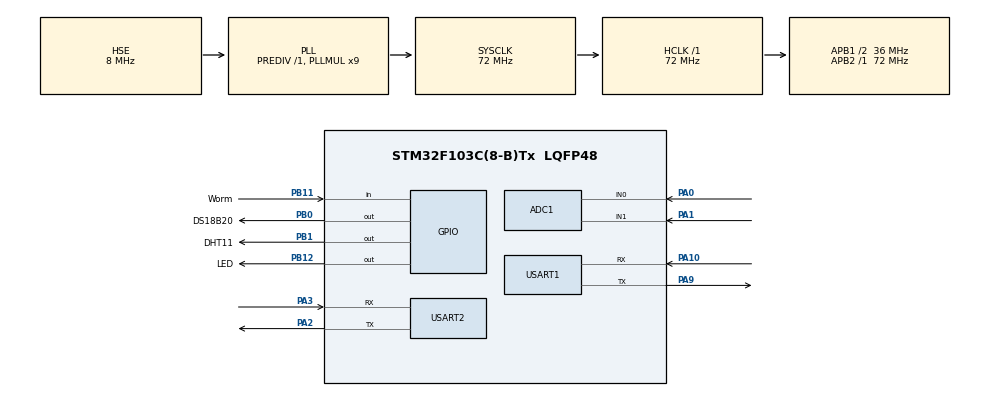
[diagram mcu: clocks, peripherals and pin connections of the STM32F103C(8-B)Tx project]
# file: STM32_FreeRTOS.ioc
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ADC1.Channel-0\#ChannelRegularConversion=ADC_CHANNEL_0
ADC1.Channel-1\#ChannelRegularConversion=ADC_CHANNEL_1
ADC1.DiscontinuousConvMode=ENABLE
ADC1.NbrOfConversion=2
ADC1.NbrOfConversionFlag=1
ADC1.Rank-0\#ChannelRegularConversion=1
ADC1.Rank-1\#ChannelRegularConversion=2
ADC1.SamplingTime-0\#ChannelRegularConversion=ADC_SAMPLETIME_1CYCLE_5
ADC1.SamplingTime-1\#ChannelRegularConversion=ADC_SAMPLETIME_1CYCLE_5
ADC1.master=1
FREERTOS.HEAP_NUMBER=4
FREERTOS.MEMORY_ALLOCATION=0
FREERTOS.Queues01=Uart1_Queue,16,uint8_t,0,Dynamic,NULL,NULL
FREERTOS.Tasks01=StatuTask,0,128,StatuHelloTask,Default,NULL,Dynamic,NULL,NULL;InfoUpdata,0,256,InfoUpdataTask,Default,NULL,Dynamic,NULL,NULL;ADC,0,256,ADCTask,Default,NULL,Dynamic,NULL,NULL;DHT11,0,256,DHT11Task,Default,NULL,Dynamic,NULL,NULL;PH,0,256,PHTask,Default,NULL,Dynamic,NULL,NULL;DS18B20,0,256,DS18B20Task,Default,NULL,Dynamic,NULL,NULL
FREERTOS.configTOTAL_HEAP_SIZE=10240
Mcu.Family=STM32F1
Mcu.Name=STM32F103C(8-B)Tx
Mcu.Package=LQFP48
NVIC.PriorityGroup=NVIC_PRIORITYGROUP_4
NVIC.TIM4_IRQn=true\:15\:0\:false\:false\:true\:false\:false\:true\:true
NVIC.TimeBase=TIM4_IRQn
NVIC.TimeBaseIP=TIM4
NVIC.USART1_IRQn=true\:5\:0\:false\:false\:true\:true\:true\:true\:true
NVIC.USART2_IRQn=true\:5\:0\:false\:false\:true\:true\:true\:true\:true
PA0-WKUP.Signal=ADCx_IN0
PA1.Signal=ADCx_IN1
PA10.Mode=Asynchronous
PA10.Signal=USART1_RX
PA13.Mode=Serial_Wire
PA13.Signal=SYS_JTMS-SWDIO
PA14.Mode=Serial_Wire
PA14.Signal=SYS_JTCK-SWCLK
PA2.Mode=Asynchronous
PA2.Signal=USART2_TX
PA3.Mode=Asynchronous
PA3.Signal=USART2_RX
PA9.Mode=Asynchronous
PA9.Signal=USART1_TX
PB0.GPIO_Label=DS18B20
PB0.GPIO_PuPd=GPIO_PULLUP
PB0.GPIO_Speed=GPIO_SPEED_FREQ_HIGH
PB0.Signal=GPIO_Output
PB1.GPIO_Label=DHT11
PB1.GPIO_PuPd=GPIO_PULLUP
PB1.GPIO_Speed=GPIO_SPEED_FREQ_HIGH
PB1.Signal=GPIO_Output
PB11.GPIO_Label=Worm
PB11.GPIO_PuPd=GPIO_PULLDOWN
PB11.Signal=GPIO_Input
PB12.GPIO_Label=LED
PB12.GPIO_ModeDefaultOutputPP=GPIO_MODE_OUTPUT_PP
PB12.GPIO_PuPd=GPIO_PULLUP
PB12.GPIO_Speed=GPIO_SPEED_FREQ_MEDIUM
PB12.PinState=GPIO_PIN_SET
PB12.Signal=GPIO_Output
PD0-OSC_IN.Mode=HSE-External-Oscillator
PD0-OSC_IN.Signal=RCC_OSC_IN
PD1-OSC_OUT.Mode=HSE-External-Oscillator
PD1-OSC_OUT.Signal=RCC_OSC_OUT
ProjectManager.HeapSize=0x200
ProjectManager.StackSize=0x400
ProjectManager.TargetToolchain=Makefile
RCC.ADCPresc=RCC_ADCPCLK2_DIV6
RCC.AHBFreq_Value=72000000
RCC.APB1CLKDivider=RCC_HCLK_DIV2
RCC.APB1Freq_Value=36000000
RCC.APB1TimFreq_Value=72000000
RCC.APB2Freq_Value=72000000
RCC.APB2TimFreq_Value=72000000
RCC.HCLKFreq_Value=72000000
RCC.PLLMUL=RCC_PLL_MUL9
RCC.PLLSourceVirtual=RCC_PLLSOURCE_HSE
RCC.SYSCLKFreq_VALUE=72000000
RCC.SYSCLKSource=RCC_SYSCLKSOURCE_PLLCLK
RCC.USBFreq_Value=72000000
SH.ADCx_IN0.0=ADC1_IN0,IN0
SH.ADCx_IN1.0=ADC1_IN1,IN1
TIM2.Prescaler=71
USART1.VirtualMode=VM_ASYNC
USART2.VirtualMode=VM_ASYNC
VP_FREERTOS_VS_CMSIS_V1.Mode=CMSIS_V1
VP_SYS_VS_tim4.Mode=TIM4
VP_TIM2_VS_ClockSourceINT.Mode=Internal
board=custom

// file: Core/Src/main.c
/* USER CODE BEGIN Header */
/**
  ******************************************************************************
  * @file           : main.c
  * @brief          : Main program body
  ******************************************************************************
  * @attention
  *
  * Copyright (c) 2022 STMicroelectronics.
  * All rights reserved.
  *
  * This software is licensed under terms that can be found in the LICENSE file
  * in the root directory of this software component.
  * If no LICENSE file comes with this software, it is provided AS-IS.
  *
  ******************************************************************************
  */
/* USER CODE END Header */
#include "main.h"
#include "cmsis_os.h"
#include "adc.h"
#include "tim.h"
#include "usart.h"
#include "gpio.h"

/* USER CODE BEGIN Includes */
#include <printf.h>
#include "DHT11.h"
#include "DS18B20.h"
#include "event_groups.h"
/* USER CODE END Includes */

/* USER CODE BEGIN PV */
unsigned char PH_RX_BUF[100];
unsigned short int PH_RX_STA;
EventGroupHandle_t EvenGroup;
/* USER CODE END PV */

void SystemClock_Config(void);
void MX_FREERTOS_Init(void);

/* USER CODE BEGIN 0 */
void putchar_(char ch)
{
    while ((USART1->SR & 0X40) == 0);
    USART1->DR = (uint8_t) ch;
}

/* USER CODE END 0 */

int main(void)
{

  /* MCU Configuration--------------------------------------------------------*/

  /* Reset of all peripherals, Initializes the Flash interface and the Systick. */
  HAL_Init();

  /* Configure the system clock */
  SystemClock_Config();

  /* Initialize all configured peripherals */
  MX_GPIO_Init();
  MX_ADC1_Init();
  MX_USART1_UART_Init();
  MX_USART2_UART_Init();
  MX_TIM2_Init();
  /* USER CODE BEGIN 2 */
  HAL_UART_Receive_IT(&huart1, (uint8_t *)PH_RX_BUF, 1);
  EvenGroup = xEventGroupCreate();
  /* USER CODE END 2 */

  /* Call init function for freertos objects (in freertos.c) */
  MX_FREERTOS_Init();

  /* Start scheduler */
  osKernelStart();

  /* We should never get here as control is now taken by the scheduler */
  /* Infinite loop */
  while (1)
  {

  }
}

void SystemClock_Config(void)
{
  RCC_OscInitTypeDef RCC_OscInitStruct = {0};
  RCC_ClkInitTypeDef RCC_ClkInitStruct = {0};
  RCC_PeriphCLKInitTypeDef PeriphClkInit = {0};

  /** Initializes the RCC Oscillators according to the specified parameters
  * in the RCC_OscInitTypeDef structure.
  */
  RCC_OscInitStruct.OscillatorType = RCC_OSCILLATORTYPE_HSE;
  RCC_OscInitStruct.HSEState = RCC_HSE_ON;
  RCC_OscInitStruct.HSEPredivValue = RCC_HSE_PREDIV_DIV1;
  RCC_OscInitStruct.HSIState = RCC_HSI_ON;
  RCC_OscInitStruct.PLL.PLLState = RCC_PLL_ON;
  RCC_OscInitStruct.PLL.PLLSource = RCC_PLLSOURCE_HSE;
  RCC_OscInitStruct.PLL.PLLMUL = RCC_PLL_MUL9;
  if (HAL_RCC_OscConfig(&RCC_OscInitStruct) != HAL_OK)
  {
    Error_Handler();
  }

  /** Initializes the CPU, AHB and APB buses clocks
  */
  RCC_ClkInitStruct.ClockType = RCC_CLOCKTYPE_HCLK|RCC_CLOCKTYPE_SYSCLK
                              |RCC_CLOCKTYPE_PCLK1|RCC_CLOCKTYPE_PCLK2;
  RCC_ClkInitStruct.SYSCLKSource = RCC_SYSCLKSOURCE_PLLCLK;
  RCC_ClkInitStruct.AHBCLKDivider = RCC_SYSCLK_DIV1;
  RCC_ClkInitStruct.APB1CLKDivider = RCC_HCLK_DIV2;
  RCC_ClkInitStruct.APB2CLKDivider = RCC_HCLK_DIV1;

  if (HAL_RCC_ClockConfig(&RCC_ClkInitStruct, FLASH_LATENCY_2) != HAL_OK)
  {
    Error_Handler();
  }
  PeriphClkInit.PeriphClockSelection = RCC_PERIPHCLK_ADC;
  PeriphClkInit.AdcClockSelection = RCC_ADCPCLK2_DIV6;
  if (HAL_RCCEx_PeriphCLKConfig(&PeriphClkInit) != HAL_OK)
  {
    Error_Handler();
  }
}

/* USER CODE BEGIN 4 */
void float_to_int_deci(Monitor_Data_TypeDef *monitor,float soil_humi)
{
	monitor->soilhumi_int = (int)soil_humi;
	monitor->soilhumi_deci = (int)(soil_humi*100)%100;
}

unsigned short int MODBUS_CRC16_v3( const unsigned char *buf, unsigned int len )
{
	static const unsigned short int table[256] = {
	0x0000, 0xC0C1, 0xC181, 0x0140, 0xC301, 0x03C0, 0x0280, 0xC241,
	0xC601, 0x06C0, 0x0780, 0xC741, 0x0500, 0xC5C1, 0xC481, 0x0440,
	0xCC01, 0x0CC0, 0x0D80, 0xCD41, 0x0F00, 0xCFC1, 0xCE81, 0x0E40,
	0x0A00, 0xCAC1, 0xCB81, 0x0B40, 0xC901, 0x09C0, 0x0880, 0xC841,
	0xD801, 0x18C0, 0x1980, 0xD941, 0x1B00, 0xDBC1, 0xDA81, 0x1A40,
	0x1E00, 0xDEC1, 0xDF81, 0x1F40, 0xDD01, 0x1DC0, 0x1C80, 0xDC41,
	0x1400, 0xD4C1, 0xD581, 0x1540, 0xD701, 0x17C0, 0x1680, 0xD641,
	0xD201, 0x12C0, 0x1380, 0xD341, 0x1100, 0xD1C1, 0xD081, 0x1040,
	0xF001, 0x30C0, 0x3180, 0xF141, 0x3300, 0xF3C1, 0xF281, 0x3240,
	0x3600, 0xF6C1, 0xF781, 0x3740, 0xF501, 0x35C0, 0x3480, 0xF441,
	0x3C00, 0xFCC1, 0xFD81, 0x3D40, 0xFF01, 0x3FC0, 0x3E80, 0xFE41,
	0xFA01, 0x3AC0, 0x3B80, 0xFB41, 0x3900, 0xF9C1, 0xF881, 0x3840,
	0x2800, 0xE8C1, 0xE981, 0x2940, 0xEB01, 0x2BC0, 0x2A80, 0xEA41,
	0xEE01, 0x2EC0, 0x2F80, 0xEF41, 0x2D00, 0xEDC1, 0xEC81, 0x2C40,
	0xE401, 0x24C0, 0x2580, 0xE541, 0x2700, 0xE7C1, 0xE681, 0x2640,
	0x2200, 0xE2C1, 0xE381, 0x2340, 0xE101, 0x21C0, 0x2080, 0xE041,
	0xA001, 0x60C0, 0x6180, 0xA141, 0x6300, 0xA3C1, 0xA281, 0x6240,
	0x6600, 0xA6C1, 0xA781, 0x6740, 0xA501, 0x65C0, 0x6480, 0xA441,
	0x6C00, 0xACC1, 0xAD81, 0x6D40, 0xAF01, 0x6FC0, 0x6E80, 0xAE41,
	0xAA01, 0x6AC0, 0x6B80, 0xAB41, 0x6900, 0xA9C1, 0xA881, 0x6840,
	0x7800, 0xB8C1, 0xB981, 0x7940, 0xBB01, 0x7BC0, 0x7A80, 0xBA41,
	0xBE01, 0x7EC0, 0x7F80, 0xBF41, 0x7D00, 0xBDC1, 0xBC81, 0x7C40,
	0xB401, 0x74C0, 0x7580, 0xB541, 0x7700, 0xB7C1, 0xB681, 0x7640,
	0x7200, 0xB2C1, 0xB381, 0x7340, 0xB101, 0x71C0, 0x7080, 0xB041,
	0x5000, 0x90C1, 0x9181, 0x5140, 0x9301, 0x53C0, 0x5280, 0x9241,
	0x9601, 0x56C0, 0x5780, 0x9741, 0x5500, 0x95C1, 0x9481, 0x5440,
	0x9C01, 0x5CC0, 0x5D80, 0x9D41, 0x5F00, 0x9FC1, 0x9E81, 0x5E40,
	0x5A00, 0x9AC1, 0x9B81, 0x5B40, 0x9901, 0x59C0, 0x5880, 0x9841,
	0x8801, 0x48C0, 0x4980, 0x8941, 0x4B00, 0x8BC1, 0x8A81, 0x4A40,
	0x4E00, 0x8EC1, 0x8F81, 0x4F40, 0x8D01, 0x4DC0, 0x4C80, 0x8C41,
	0x4400, 0x84C1, 0x8581, 0x4540, 0x8701, 0x47C0, 0x4680, 0x8641,
	0x8201, 0x42C0, 0x4380, 0x8341, 0x4100, 0x81C1, 0x8081, 0x4040 };

	unsigned char xor = 0;
	unsigned short int crc = 0xFFFF;

	while( len-- )
	{
		xor = (*buf++) ^ crc;
		crc >>= 8;
		crc ^= table[xor];
	}

	return crc;
}

void AND_Report(unsigned char function,Monitor_Data_TypeDef *monitor,unsigned char len)
{
	unsigned char send_buf[32]={0};
	unsigned char sumcheck = 0;
	unsigned char addcheck = 0;
	if(len>28)	return;	//最多28字节数据
	send_buf[0] = 0XAA;	//帧头
	send_buf[1] = 0X05;	//发送设备
	send_buf[2] = function;	//功能字
	send_buf[3] = 0x0c;	//数据长度
	send_buf[4] = monitor->soiltemp_int;
	send_buf[5] = monitor->soiltemp_deci;
	send_buf[6] = monitor->soilhumi_int;
	send_buf[7] = monitor->soilhumi_deci;
	send_buf[8] = monitor->ph_int;
	send_buf[9] = monitor->ph_deci;
	send_buf[10] = monitor->air_humi_int;
	send_buf[11] = monitor->air_humi_deci;
	send_buf[12] = monitor->air_temp_int;
	send_buf[13] = monitor->air_temp_deci;
	send_buf[14] = monitor->Illumination;
	send_buf[15] = monitor->Worm;
	for(unsigned char i=0; i<16; i++)								//计算校验和 附加检验
    {
        sumcheck += send_buf[i];
        addcheck += sumcheck;
    }
	send_buf[16] = sumcheck;
	send_buf[17] = addcheck;
	HAL_UART_Transmit(&huart2,send_buf,18,0xFF);
}
/* USER CODE END 4 */

void HAL_TIM_PeriodElapsedCallback(TIM_HandleTypeDef *htim)
{
  if (htim->Instance == TIM4) {
    HAL_IncTick();
  }
}

void Error_Handler(void)
{
  __disable_irq();
  while (1)
  {
  }
}

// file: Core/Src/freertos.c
/* USER CODE BEGIN Header */
/**
  ******************************************************************************
  * File Name          : freertos.c
  * Description        : Code for freertos applications
  ******************************************************************************
  * @attention
  *
  * Copyright (c) 2022 STMicroelectronics.
  * All rights reserved.
  *
  * This software is licensed under terms that can be found in the LICENSE file
  * in the root directory of this software component.
  * If no LICENSE file comes with this software, it is provided AS-IS.
  *
  ******************************************************************************
  */
/* USER CODE END Header */

#include "FreeRTOS.h"
#include "task.h"
#include "main.h"
#include "cmsis_os.h"

/* USER CODE BEGIN Includes */
#include "event_groups.h"
#include "DHT11.h"
#include "DS18B20.h"
/* USER CODE END Includes */

/* USER CODE BEGIN PD */
#define ADC_FLAG      0x01
#define DHT11_FLAG    0x02
#define PH_FLAG       0x04
#define DS18B20_FLAG  0x08
/* USER CODE END PD */

/* USER CODE BEGIN Variables */
extern EventGroupHandle_t EvenGroup;
extern ADC_HandleTypeDef hadc1;
extern unsigned char PH_RX_BUF[];
extern unsigned short int PH_RX_STA;
Monitor_Data_TypeDef Monitor_Data;
/* USER CODE END Variables */
osThreadId StatuTaskHandle;
osThreadId InfoUpdataHandle;
osThreadId ADCHandle;
osThreadId DHT11Handle;
osThreadId PHHandle;
osThreadId DS18B20Handle;
osMessageQId Uart1_QueueHandle;

/* USER CODE BEGIN FunctionPrototypes */
extern void float_to_int_deci(Monitor_Data_TypeDef *monitor,float soil_humi);
extern uint8_t Read_DHT11(Monitor_Data_TypeDef *monitor);
/* USER CODE END FunctionPrototypes */

void StatuHelloTask(void const * argument);
void InfoUpdataTask(void const * argument);
void ADCTask(void const * argument);
void DHT11Task(void const * argument);
void PHTask(void const * argument);
void DS18B20Task(void const * argument);

void MX_FREERTOS_Init(void); /* (MISRA C 2004 rule 8.1) */

void MX_FREERTOS_Init(void) {

  /* Create the queue(s) */
  /* definition and creation of Uart1_Queue */
  osMessageQDef(Uart1_Queue, 16, uint8_t);
  Uart1_QueueHandle = osMessageCreate(osMessageQ(Uart1_Queue), NULL);

  /* Create the thread(s) */
  /* definition and creation of StatuTask */
  osThreadDef(StatuTask, StatuHelloTask, osPriorityNormal, 0, 128);
  StatuTaskHandle = osThreadCreate(osThread(StatuTask), NULL);

  /* definition and creation of InfoUpdata */
  osThreadDef(InfoUpdata, InfoUpdataTask, osPriorityNormal, 0, 256);
  InfoUpdataHandle = osThreadCreate(osThread(InfoUpdata), NULL);

  /* definition and creation of ADC */
  osThreadDef(ADC, ADCTask, osPriorityNormal, 0, 256);
  ADCHandle = osThreadCreate(osThread(ADC), NULL);

  /* definition and creation of DHT11 */
  osThreadDef(DHT11, DHT11Task, osPriorityNormal, 0, 256);
  DHT11Handle = osThreadCreate(osThread(DHT11), NULL);

  /* definition and creation of PH */
  osThreadDef(PH, PHTask, osPriorityNormal, 0, 256);
  PHHandle = osThreadCreate(osThread(PH), NULL);

  /* definition and creation of DS18B20 */
  osThreadDef(DS18B20, DS18B20Task, osPriorityNormal, 0, 256);
  DS18B20Handle = osThreadCreate(osThread(DS18B20), NULL);

}

void StatuHelloTask(void const * argument)
{
  /* USER CODE BEGIN StatuHelloTask */
  /* Infinite loop */
  for(;;)
  {
    HAL_GPIO_TogglePin(LED_GPIO_Port,LED_Pin);
    osDelay(1000);
  }
  /* USER CODE END StatuHelloTask */
}

void InfoUpdataTask(void const * argument)
{
  /* USER CODE BEGIN InfoUpdataTask */
  /* Infinite loop */
  for(;;)
  {
    xEventGroupWaitBits(EvenGroup,ADC_FLAG | DHT11_FLAG | PH_FLAG | DS18B20_FLAG, pdTRUE, pdTRUE, portMAX_DELAY);
    AND_Report(0xAA,&Monitor_Data,18);
    // printf_("InfoUpdataTask\r\n");
    // osDelay(1000);
  }
  /* USER CODE END InfoUpdataTask */
}

void ADCTask(void const * argument)
{
  /* USER CODE BEGIN ADCTask */
  /* Infinite loop */
  for(;;)
  {
    xEventGroupSetBits(EvenGroup,ADC_FLAG);
		HAL_ADC_Start(&hadc1);
		HAL_ADC_PollForConversion(&hadc1,50);
		Monitor_Data.Illumination = HAL_ADC_GetValue(&hadc1)*100/4096;
		HAL_ADC_Start(&hadc1);
		HAL_ADC_PollForConversion(&hadc1,50);
		float soil_humi = HAL_ADC_GetValue(&hadc1)*3.3f/4096;
    float_to_int_deci(&Monitor_Data,soil_humi);
		HAL_ADC_Stop(&hadc1);

    //虫害
    Monitor_Data.Worm = Worm_Get ? 1 : 0;
    // printf_("ADCTask\r\n");
    // osDelay(1000);
  }
  /* USER CODE END ADCTask */
}

void DHT11Task(void const * argument)
{
  /* USER CODE BEGIN DHT11Task */
  /* Infinite loop */
  for(;;)
  {
    xEventGroupSetBits(EvenGroup,DHT11_FLAG);
    Read_DHT11(&Monitor_Data);
    // printf_("DHT11Task\r\n");
    // osDelay(1000);
  }
  /* USER CODE END DHT11Task */
}

void PHTask(void const * argument)
{
  /* USER CODE BEGIN PHTask */
  uint8_t Res;
  /* Infinite loop */
  for(;;)
  {
    if(xQueueReceive(Uart1_QueueHandle,&Res,portMAX_DELAY)!=pdFALSE){
      if(PH_RX_STA == 0)				//	帧头
      {
        if(Res == 0x01)
        {
          PH_RX_BUF[PH_RX_STA] = Res;
          PH_RX_STA = 0x0001;
        }else PH_RX_STA = 0;
      }else if(PH_RX_STA == 0x0001)	//功能码
      {
        if(Res == 0x03)
        {
          PH_RX_BUF[PH_RX_STA] = Res;
          PH_RX_STA = 0x0002;
        }else PH_RX_STA = 0;
      }else if(PH_RX_STA == 0x0002)	//数据长度
      {
        if(Res == 0x02)
        {
          PH_RX_BUF[PH_RX_STA] = Res;
          PH_RX_STA = 0x0003;
        }else PH_RX_STA = 0;
      }else if(PH_RX_STA == 0x0003)	//PH_1
      {
        PH_RX_BUF[PH_RX_STA] = Res;
        PH_RX_STA = 0x0004;
      }else if(PH_RX_STA == 0x0004)	//PH_2
      {
        PH_RX_BUF[PH_RX_STA] = Res;
        PH_RX_STA = 0x0005;
      }else if(PH_RX_STA == 0x0005)	//Check_1
      {
        PH_RX_BUF[PH_RX_STA] = Res;
        PH_RX_STA = 0x0006;
      }else if(PH_RX_STA == 0x0006)	//Check_2
      {
        PH_RX_BUF[PH_RX_STA] = Res;
        unsigned short int CRC_RETURN = MODBUS_CRC16_v3(PH_RX_BUF, 5);
        if((PH_RX_BUF[PH_RX_STA] == CRC_RETURN>>8) && (PH_RX_BUF[PH_RX_STA-1] == (CRC_RETURN&0x00FF)))
        {
            unsigned short int PH = 0;
            PH = (unsigned short int)PH_RX_BUF[3]<<8 | PH_RX_BUF[4];
            Monitor_Data.ph_int = PH/10;
            Monitor_Data.ph_deci = PH%10;
            PH_RX_STA = 0;
            xEventGroupSetBits(EvenGroup,PH_FLAG);
        }else PH_RX_STA=0;
      }
    }
    // printf_("PHTask\r\n");
  }
  /* USER CODE END PHTask */
}

void DS18B20Task(void const * argument)
{
  /* USER CODE BEGIN DS18B20Task */
  /* Infinite loop */
  for(;;)
  {
    xEventGroupSetBits(EvenGroup,DS18B20_FLAG);
		if(DS18B20_CheckDevice() == 0)
		{
			int soil_temp = 0;
			soil_temp = DS18B20_GetTemperature();
			Monitor_Data.soiltemp_int = soil_temp>>4 ;           /*合成实际温度整数部分*/
			Monitor_Data.soiltemp_deci = soil_temp&0xF ;         /*合成实际温度小数部分*/
		}
    printf_("DS18B20Task\r\n");
    osDelay(1000);
  }
  /* USER CODE END DS18B20Task */
}
